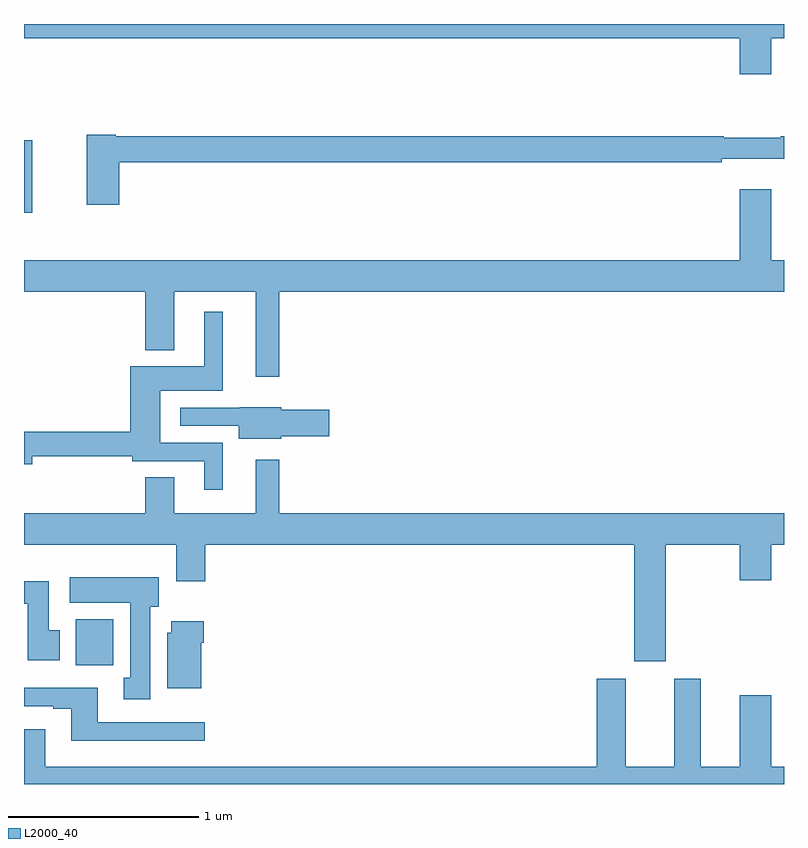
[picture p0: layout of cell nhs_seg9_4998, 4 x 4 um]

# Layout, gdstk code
import gdstk
lib = gdstk.Library(unit=1e-6, precision=1e-09)
def R(c, l, rs):  # rectangles x0, y0, x1, y1
    for r in rs: c.add(gdstk.rectangle(r[:2], r[2:], *l))
def P(c, l, *ps):  # polygons
    for p in ps: c.add(gdstk.Polygon(p, *l))
L2000_40 = (2000, 40)

nhs_seg9_4998 = lib.new_cell('nhs_seg9_4998')
R(nhs_seg9_4998, L2000_40, [(401.273,1189.124,401.47,1189.366), (401,1191.507,401.044,1191.888)])
P(nhs_seg9_4998, L2000_40, [(404.932,1192.424),(405,1192.424),(405,1192.5),(401,1192.5),(401,1192.424),(404.768,1192.424),(404.768,1192.236),(404.932,1192.236)],
  [(401.501,1191.772),(404.672,1191.772),(404.672,1191.791),(405,1191.791),(405,1191.908),(404.984,1191.908),(404.984,1191.901),(404.684,1191.901),(404.684,1191.908),(401.484,1191.908),(401.484,1191.916),(401.33,1191.916),(401.33,1191.549),(401.501,1191.549)],
  [(402.343,1191.092),(405,1191.092),(405,1191.256),(404.932,1191.256),(404.932,1191.631),(404.768,1191.631),(404.768,1191.256),(401,1191.256),(401,1191.092),(401.639,1191.092),(401.639,1190.783),(401.791,1190.783),(401.791,1191.092),(402.221,1191.092),(402.221,1190.643),(402.343,1190.643)],
  [(402.046,1190.295),(401.716,1190.295),(401.716,1190.57),(402.046,1190.57),(402.046,1190.986),(401.948,1190.986),(401.948,1190.698),(401.558,1190.698),(401.558,1190.354),(401,1190.354),(401,1190.183),(401.044,1190.183),(401.044,1190.226),(401.57,1190.226),(401.57,1190.199),(401.948,1190.199),(401.948,1190.049),(402.046,1190.049)],
  [(402.354,1190.329),(402.607,1190.329),(402.607,1190.471),(402.354,1190.471),(402.354,1190.482),(402.135,1190.482),(402.135,1190.481),(401.823,1190.481),(401.823,1190.385),(402.131,1190.385),(402.131,1190.318),(402.354,1190.318)],
  [(404.377,1189.76),(404.768,1189.76),(404.768,1189.572),(404.932,1189.572),(404.932,1189.76),(405,1189.76),(405,1189.924),(402.343,1189.924),(402.343,1190.206),(402.221,1190.206),(402.221,1189.924),(401.791,1189.924),(401.791,1190.114),(401.639,1190.114),(401.639,1189.924),(401,1189.924),(401,1189.76),(401.801,1189.76),(401.801,1189.566),(401.954,1189.566),(401.954,1189.76),(404.213,1189.76),(404.213,1189.146),(404.377,1189.146)],
  [(401.665,1189.434),(401.71,1189.434),(401.71,1189.588),(401.241,1189.588),(401.241,1189.454),(401.558,1189.454),(401.558,1189.058),(401.525,1189.058),(401.525,1188.945),(401.665,1188.945)],
  [(401.188,1189.308),(401.131,1189.308),(401.131,1189.567),(401,1189.567),(401,1189.448),(401.021,1189.448),(401.021,1189.152),(401.188,1189.152)],
  [(401.932,1189.244),(401.945,1189.244),(401.945,1189.357),(401.774,1189.357),(401.774,1189.296),(401.753,1189.296),(401.753,1189.004),(401.932,1189.004)],
  [(405,1188.592),(404.932,1188.592),(404.932,1188.967),(404.768,1188.967),(404.768,1188.592),(404.563,1188.592),(404.563,1189.054),(404.423,1189.054),(404.423,1188.592),(404.167,1188.592),(404.167,1189.054),(404.015,1189.054),(404.015,1188.592),(401.113,1188.592),(401.113,1188.787),(401,1188.787),(401,1188.5),(405,1188.5)],
  [(401.95,1188.825),(401.389,1188.825),(401.389,1189.006),(401,1189.006),(401,1188.909),(401.153,1188.909),(401.153,1188.897),(401.249,1188.897),(401.249,1188.728),(401.95,1188.728)])

lib.write_gds('nhs_seg9_4998.gds')
